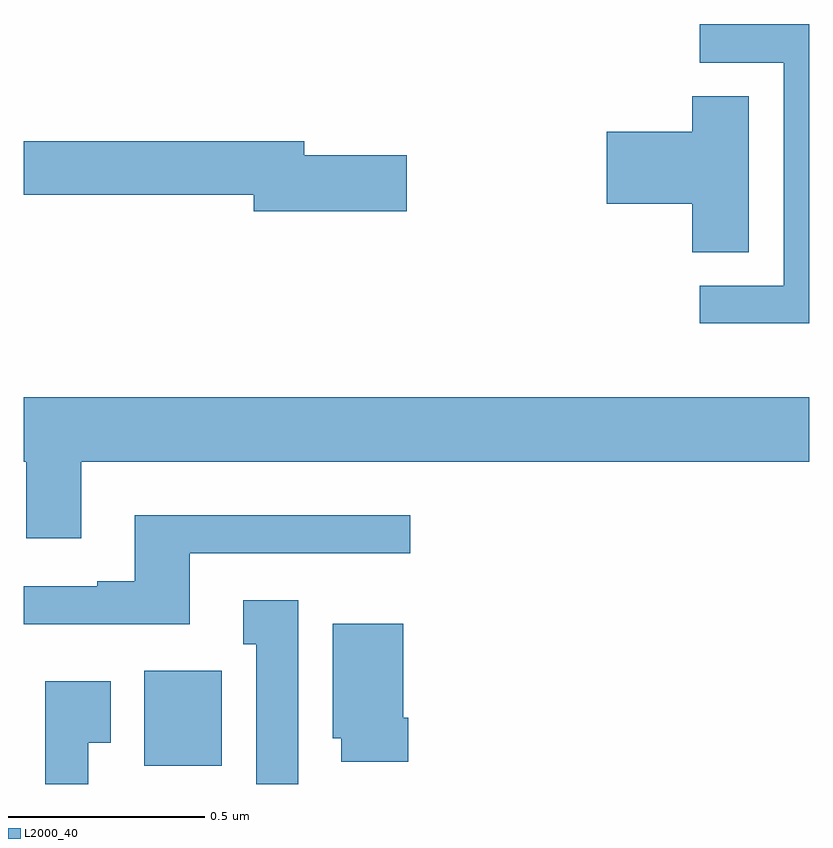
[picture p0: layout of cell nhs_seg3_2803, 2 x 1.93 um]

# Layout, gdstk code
import gdstk
lib = gdstk.Library(unit=1e-6, precision=1e-09)
def R(c, l, rs):  # rectangles x0, y0, x1, y1
    for r in rs: c.add(gdstk.rectangle(r[:2], r[2:], *l))
def P(c, l, *ps):  # polygons
    for p in ps: c.add(gdstk.Polygon(p, *l))
L2000_40 = (2000, 40)

nhs_seg3_2803 = lib.new_cell('nhs_seg3_2803')
R(nhs_seg3_2803, L2000_40, [(145.307,729.446,145.504,729.688)])
P(nhs_seg3_2803, L2000_40, [(147,731.334),(146.721,731.334),(146.721,731.235),(146.934,731.235),(146.934,730.668),(146.721,730.668),(146.721,730.572),(147,730.572)],
  [(146.845,731.15),(146.702,731.15),(146.702,731.06),(146.484,731.06),(146.484,730.877),(146.702,730.877),(146.702,730.753),(146.845,730.753)],
  [(145.975,731),(145.714,731),(145.714,731.036),(145,731.036),(145,730.9),(145.586,730.9),(145.586,730.858),(145.975,730.858)],
  [(145.147,730.22),(147,730.22),(147,730.384),(145,730.384),(145,730.22),(145.007,730.22),(145.007,730.026),(145.147,730.026)],
  [(145.423,729.987),(145.984,729.987),(145.984,730.084),(145.283,730.084),(145.283,729.916),(145.187,729.916),(145.187,729.903),(145,729.903),(145,729.806),(145.423,729.806)],
  [(145.699,729.868),(145.559,729.868),(145.559,729.755),(145.592,729.755),(145.592,729.4),(145.699,729.4)],
  [(145.979,729.568),(145.966,729.568),(145.966,729.808),(145.787,729.808),(145.787,729.516),(145.808,729.516),(145.808,729.456),(145.979,729.456)],
  [(145.165,729.505),(145.222,729.505),(145.222,729.661),(145.055,729.661),(145.055,729.4),(145.165,729.4)])

lib.write_gds('nhs_seg3_2803.gds')
